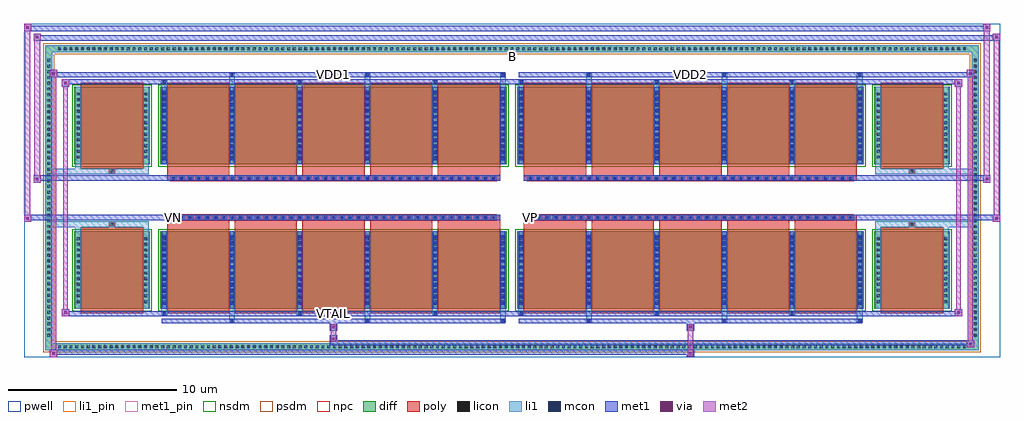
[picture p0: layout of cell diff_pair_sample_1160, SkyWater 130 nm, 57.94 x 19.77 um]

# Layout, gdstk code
import gdstk
lib = gdstk.Library(unit=1e-6, precision=5e-09)
def R(c, l, rs):  # rectangles x0, y0, x1, y1
    for r in rs: c.add(gdstk.rectangle(r[:2], r[2:], *l))
def A(c, l, x, y, w, h, nx, ny, dx, dy):  # array of equal rectangles
    R(c, l, [(x+i*dx, y+j*dy, x+i*dx+w, y+j*dy+h) for i in range(nx) for j in range(ny)])
def P(c, l, *ps):  # polygons
    for p in ps: c.add(gdstk.Polygon(p, *l))
pwell = (64, 44)
diff = (65, 20)
poly = (66, 20)
licon = (66, 44)
li1_pin = (67, 16)
li1 = (67, 20)
mcon = (67, 44)
met1_pin = (68, 16)
met1 = (68, 20)
via = (68, 44)
met2 = (69, 20)
nsdm = (93, 44)
psdm = (94, 20)
npc = (95, 20)

diff_pair_sample_1160 = lib.new_cell('diff_pair_sample_1160')
R(diff_pair_sample_1160, pwell, [(-28.97,-9.45,28.97,10.32), (-26.29,-7.64,-0.01,-0.8), (0.01,-7.64,26.29,-0.8), (-26.29,0.8,-0.01,7.64), (0.01,0.8,26.29,7.64)])
A(diff_pair_sample_1160, diff, -27.065, -9.05, 0.41, 0.41, 159, 2, 0.34, 17.69)
A(diff_pair_sample_1160, diff, -27.7, -8.365, 0.41, 0.41, 1, 49, 0, 0.34)
A(diff_pair_sample_1160, diff, 27.29, -8.365, 0.41, 0.41, 1, 49, 0, 0.34)
R(diff_pair_sample_1160, diff, [(-27.065,-9.05,27.065,-8.64), (-27.7,-8.365,-27.29,8.365), (27.29,-8.365,27.7,8.365), (-25.98,-6.595,-21.51,-1.985), (-20.87,-6.595,-0.32,-1.985), (0.32,-6.595,20.87,-1.985), (21.51,-6.595,25.98,-1.985), (-25.98,1.985,-21.51,6.595), (-20.87,1.985,-0.32,6.595), (0.32,1.985,20.87,6.595), (21.51,1.985,25.98,6.595), (-27.065,8.64,27.065,9.05)])
P(diff_pair_sample_1160, diff, [(27.7,9.05),(-27.7,9.05),(-27.7,-8.64),(-27.29,-8.64),(-27.29,8.64),(27.29,8.64),(27.29,-8.64),(-27.29,-8.64),(-27.7,-8.64),(-27.7,-9.05),(27.7,-9.05)])
A(diff_pair_sample_1160, poly, -20.48, -6.845, 3.69, 5.11, 5, 2, 4.02, 8.58)
A(diff_pair_sample_1160, poly, 0.71, -6.845, 3.69, 5.11, 5, 2, 4.02, 8.58)
A(diff_pair_sample_1160, poly, -20.48, -1.735, 3.69, 0.405, 5, 2, 4.02, 3.065)
A(diff_pair_sample_1160, poly, 0.71, -1.735, 3.69, 0.405, 5, 2, 4.02, 3.065)
A(diff_pair_sample_1160, poly, -20.26, -1.33, 0.33, 0.33, 39, 2, 0.5, 2.33)
A(diff_pair_sample_1160, poly, 0.93, -1.33, 0.33, 0.33, 39, 2, 0.5, 2.33)
R(diff_pair_sample_1160, poly, [(-25.59,-6.845,-21.9,-1.735), (21.9,-6.845,25.59,-1.735), (-23.91,-1.735,-23.58,-1.405), (-23.91,-1.735,-23.58,-1.405), (23.58,-1.735,23.91,-1.405), (23.58,-1.735,23.91,-1.405), (-20.48,-1.33,-0.71,-1), (0.71,-1.33,20.48,-1), (-20.48,1,-0.71,1.33), (0.71,1,20.48,1.33), (-23.91,1.405,-23.58,1.735), (-23.91,1.405,-23.58,1.735), (23.58,1.405,23.91,1.735), (23.58,1.405,23.91,1.735), (-25.59,1.735,-21.9,6.845), (21.9,1.735,25.59,6.845)])
A(diff_pair_sample_1160, licon, -26.945, -8.93, 0.17, 0.17, 159, 2, 0.34, 17.69)
A(diff_pair_sample_1160, licon, -27.58, -8.245, 0.17, 0.17, 1, 49, 0, 0.34)
A(diff_pair_sample_1160, licon, 27.41, -8.245, 0.17, 0.17, 1, 49, 0, 0.34)
A(diff_pair_sample_1160, licon, -25.84, -6.245, 0.17, 0.17, 1, 12, 0, 0.34)
A(diff_pair_sample_1160, licon, -21.82, -6.245, 0.17, 0.17, 1, 12, 0, 0.34)
A(diff_pair_sample_1160, licon, -20.73, -6.245, 0.17, 0.17, 6, 12, 4.02, 0.34)
A(diff_pair_sample_1160, licon, 0.46, -6.245, 0.17, 0.17, 6, 12, 4.02, 0.34)
A(diff_pair_sample_1160, licon, 21.65, -6.245, 0.17, 0.17, 1, 12, 0, 0.34)
A(diff_pair_sample_1160, licon, 25.67, -6.245, 0.17, 0.17, 1, 12, 0, 0.34)
A(diff_pair_sample_1160, licon, -20.18, -1.25, 0.17, 0.17, 39, 2, 0.5, 2.33)
A(diff_pair_sample_1160, licon, 1.01, -1.25, 0.17, 0.17, 39, 2, 0.5, 2.33)
A(diff_pair_sample_1160, licon, -25.84, 2.335, 0.17, 0.17, 1, 12, 0, 0.34)
A(diff_pair_sample_1160, licon, -21.82, 2.335, 0.17, 0.17, 1, 12, 0, 0.34)
A(diff_pair_sample_1160, licon, -20.73, 2.335, 0.17, 0.17, 6, 12, 4.02, 0.34)
A(diff_pair_sample_1160, licon, 0.46, 2.335, 0.17, 0.17, 6, 12, 4.02, 0.34)
A(diff_pair_sample_1160, licon, 21.65, 2.335, 0.17, 0.17, 1, 12, 0, 0.34)
A(diff_pair_sample_1160, licon, 25.67, 2.335, 0.17, 0.17, 1, 12, 0, 0.34)
R(diff_pair_sample_1160, licon, [(-23.83,-1.655,-23.66,-1.485), (23.66,-1.655,23.83,-1.485), (-23.83,1.485,-23.66,1.655), (23.66,1.485,23.83,1.655)])
R(diff_pair_sample_1160, li1_pin, [(-0.25,8.14,0.25,8.64)])
A(diff_pair_sample_1160, li1, -27.025, -9.01, 0.33, 0.33, 159, 2, 0.34, 17.69)
A(diff_pair_sample_1160, li1, -27.66, -8.325, 0.33, 0.33, 1, 49, 0, 0.34)
A(diff_pair_sample_1160, li1, 27.33, -8.325, 0.33, 0.33, 1, 49, 0, 0.34)
A(diff_pair_sample_1160, li1, -16.79, -7.4, 0.33, 0.805, 3, 2, 8.04, 13.995)
A(diff_pair_sample_1160, li1, -16.71, -7.4, 0.17, 0.17, 3, 2, 8.04, 14.63)
A(diff_pair_sample_1160, li1, 4.4, -7.4, 0.33, 0.805, 3, 2, 8.04, 13.995)
A(diff_pair_sample_1160, li1, 4.48, -7.4, 0.17, 0.17, 3, 2, 8.04, 14.63)
A(diff_pair_sample_1160, li1, -20.81, -6.97, 0.33, 0.375, 3, 2, 8.04, 13.565)
A(diff_pair_sample_1160, li1, -20.73, -6.97, 0.17, 0.17, 3, 2, 8.04, 13.77)
A(diff_pair_sample_1160, li1, 0.38, -6.97, 0.33, 0.375, 3, 2, 8.04, 13.565)
A(diff_pair_sample_1160, li1, 0.46, -6.97, 0.17, 0.17, 3, 2, 8.04, 13.77)
A(diff_pair_sample_1160, li1, -20.81, -6.595, 0.33, 4.61, 6, 2, 4.02, 8.58)
A(diff_pair_sample_1160, li1, 0.38, -6.595, 0.33, 4.61, 6, 2, 4.02, 8.58)
A(diff_pair_sample_1160, li1, -20.73, -6.355, 0.17, 0.17, 6, 12, 4.02, 0.36)
A(diff_pair_sample_1160, li1, -20.73, -6.355, 0.17, 4.13, 6, 2, 4.02, 8.58)
A(diff_pair_sample_1160, li1, 0.46, -6.355, 0.17, 0.17, 6, 12, 4.02, 0.36)
A(diff_pair_sample_1160, li1, 0.46, -6.355, 0.17, 4.13, 6, 2, 4.02, 8.58)
A(diff_pair_sample_1160, li1, -25.92, -6.325, 0.33, 0.33, 1, 12, 0, 0.34)
A(diff_pair_sample_1160, li1, -21.9, -6.325, 0.33, 0.33, 1, 12, 0, 0.34)
A(diff_pair_sample_1160, li1, -20.81, -6.325, 0.33, 0.33, 6, 12, 4.02, 0.34)
A(diff_pair_sample_1160, li1, 0.38, -6.325, 0.33, 0.33, 6, 12, 4.02, 0.34)
A(diff_pair_sample_1160, li1, 21.57, -6.325, 0.33, 0.33, 1, 12, 0, 0.34)
A(diff_pair_sample_1160, li1, 25.59, -6.325, 0.33, 0.33, 1, 12, 0, 0.34)
A(diff_pair_sample_1160, li1, -20.26, -1.33, 0.33, 0.33, 39, 2, 0.5, 2.33)
A(diff_pair_sample_1160, li1, 0.93, -1.33, 0.33, 0.33, 39, 2, 0.5, 2.33)
A(diff_pair_sample_1160, li1, -20.73, 2.225, 0.17, 0.17, 6, 12, 4.02, 0.36)
A(diff_pair_sample_1160, li1, 0.46, 2.225, 0.17, 0.17, 6, 12, 4.02, 0.36)
A(diff_pair_sample_1160, li1, -25.92, 2.255, 0.33, 0.33, 1, 12, 0, 0.34)
A(diff_pair_sample_1160, li1, -21.9, 2.255, 0.33, 0.33, 1, 12, 0, 0.34)
A(diff_pair_sample_1160, li1, -20.81, 2.255, 0.33, 0.33, 6, 12, 4.02, 0.34)
A(diff_pair_sample_1160, li1, 0.38, 2.255, 0.33, 0.33, 6, 12, 4.02, 0.34)
A(diff_pair_sample_1160, li1, 21.57, 2.255, 0.33, 0.33, 1, 12, 0, 0.34)
A(diff_pair_sample_1160, li1, 25.59, 2.255, 0.33, 0.33, 1, 12, 0, 0.34)
R(diff_pair_sample_1160, li1, [(-27.7,-9.05,-27.29,-8.64), (-27.7,-9.05,-27.29,-8.64), (-27.29,-9.05,27.29,-8.64), (27.29,-9.05,27.7,-8.64), (27.29,-9.05,27.7,-8.64), (-27.7,-8.64,-27.29,8.64), (27.29,-8.64,27.7,8.64), (-25.92,-6.595,-25.59,-1.985), (-21.9,-6.595,-21.57,-1.985), (21.57,-6.595,21.9,-1.985), (25.59,-6.595,25.92,-1.985), (-25.92,-1.985,-25.59,-1.405), (-21.9,-1.985,-21.57,-1.405), (21.57,-1.985,21.9,-1.405), (25.59,-1.985,25.92,-1.405), (-27.7,-1.735,-23.91,-1.405), (-25.92,-1.735,-23.91,-1.405), (-23.91,-1.735,-23.58,-1.405), (-23.58,-1.735,-21.57,-1.405), (21.57,-1.735,23.58,-1.405), (23.58,-1.735,23.91,-1.405), (23.58,-1.735,27.7,-1.405), (23.91,-1.735,25.92,-1.405), (-27.7,1.405,-23.91,1.735), (-25.92,1.405,-23.91,1.735), (-25.92,1.405,-25.59,1.985), (-23.91,1.405,-23.58,1.735), (-23.58,1.405,-21.57,1.735), (-21.9,1.405,-21.57,1.985), (21.57,1.405,23.58,1.735), (21.57,1.405,21.9,1.985), (23.58,1.405,23.91,1.735), (23.58,1.405,27.7,1.735), (23.91,1.405,25.92,1.735), (25.59,1.405,25.92,1.985), (-25.92,1.985,-25.59,6.595), (-21.9,1.985,-21.57,6.595), (21.57,1.985,21.9,6.595), (25.59,1.985,25.92,6.595), (-27.7,8.64,-27.29,9.05), (-27.7,8.64,-27.29,9.05), (-27.29,8.64,27.29,9.05), (27.29,8.64,27.7,9.05), (27.29,8.64,27.7,9.05)])
A(diff_pair_sample_1160, mcon, -16.71, -7.4, 0.17, 0.17, 3, 2, 8.04, 14.63)
A(diff_pair_sample_1160, mcon, 4.48, -7.4, 0.17, 0.17, 3, 2, 8.04, 14.63)
A(diff_pair_sample_1160, mcon, -20.73, -6.97, 0.17, 0.17, 3, 2, 8.04, 13.77)
A(diff_pair_sample_1160, mcon, 0.46, -6.97, 0.17, 0.17, 3, 2, 8.04, 13.77)
A(diff_pair_sample_1160, mcon, -20.73, -6.355, 0.17, 0.17, 6, 12, 4.02, 0.36)
A(diff_pair_sample_1160, mcon, 0.46, -6.355, 0.17, 0.17, 6, 12, 4.02, 0.36)
A(diff_pair_sample_1160, mcon, -20.18, -1.25, 0.17, 0.17, 39, 2, 0.5, 2.33)
A(diff_pair_sample_1160, mcon, 1.01, -1.25, 0.17, 0.17, 39, 2, 0.5, 2.33)
A(diff_pair_sample_1160, mcon, -20.73, 2.225, 0.17, 0.17, 6, 12, 4.02, 0.36)
A(diff_pair_sample_1160, mcon, 0.46, 2.225, 0.17, 0.17, 6, 12, 4.02, 0.36)
R(diff_pair_sample_1160, met1_pin, [(-10.73,-7.01,-10.46,-6.74), (-20.23,-1.29,-19.96,-1.02), (0.96,-1.29,1.23,-1.02), (-10.73,7.19,-10.46,7.46), (10.46,7.19,10.73,7.46)])
A(diff_pair_sample_1160, met1, -16.77, -7.46, 0.29, 0.29, 3, 2, 8.04, 14.63)
A(diff_pair_sample_1160, met1, 4.42, -7.46, 0.29, 0.29, 3, 2, 8.04, 14.63)
A(diff_pair_sample_1160, met1, -20.79, -7.03, 0.29, 0.29, 3, 2, 8.04, 13.77)
A(diff_pair_sample_1160, met1, 0.4, -7.03, 0.29, 0.29, 3, 2, 8.04, 13.77)
A(diff_pair_sample_1160, met1, -20.79, -6.595, 0.29, 4.61, 6, 2, 4.02, 8.58)
A(diff_pair_sample_1160, met1, 0.4, -6.595, 0.29, 4.61, 6, 2, 4.02, 8.58)
A(diff_pair_sample_1160, met1, -20.79, -6.415, 0.29, 0.29, 6, 12, 4.02, 0.36)
A(diff_pair_sample_1160, met1, 0.4, -6.415, 0.29, 0.29, 6, 12, 4.02, 0.36)
A(diff_pair_sample_1160, met1, -20.24, -1.31, 0.29, 0.29, 39, 2, 0.5, 2.33)
A(diff_pair_sample_1160, met1, 0.95, -1.31, 0.29, 0.29, 39, 2, 0.5, 2.33)
A(diff_pair_sample_1160, met1, -20.79, 2.165, 0.29, 0.29, 6, 12, 4.02, 0.36)
A(diff_pair_sample_1160, met1, 0.4, 2.165, 0.29, 0.29, 6, 12, 4.02, 0.36)
R(diff_pair_sample_1160, met1, [(-27.43,-9.45,-27,-9.02), (10.38,-9.45,10.81,-9.02), (-27.43,-9.31,10.81,-9.02), (27,-8.88,27.43,-8.45), (-10.81,-8.74,27.43,-8.45), (-10.81,-8.6,-10.38,-8.17), (-10.81,-7.89,-10.38,-7.46), (10.38,-7.89,10.81,-7.46), (-20.79,-7.46,-0.4,-7.17), (0.4,-7.46,20.79,-7.17), (-26.72,-7.03,-26.29,-6.6), (-26.72,-7.03,-20.79,-6.74), (-20.79,-7.03,-0.4,-6.74), (-0.4,-7.03,0.4,-6.74), (0.4,-7.03,20.79,-6.74), (20.79,-7.03,26.72,-6.74), (26.29,-7.03,26.72,-6.6), (-28.97,-1.43,-28.54,-1), (28.54,-1.43,28.97,-1), (-28.97,-1.33,-0.71,-1), (-20.48,-1.33,-0.71,-1), (0.71,-1.33,20.48,-1), (0.71,-1.33,28.97,-1), (-28.4,0.9,-27.97,1.33), (27.97,0.9,28.4,1.33), (-28.4,1,-20.48,1.33), (-20.48,1,-0.71,1.33), (0.71,1,20.48,1.33), (20.48,1,28.4,1.33), (-26.72,6.6,-26.29,7.03), (26.29,6.6,26.72,7.03), (-26.72,6.74,-20.79,7.03), (-20.79,6.74,-0.4,7.03), (-0.4,6.74,0.4,7.03), (0.4,6.74,20.79,7.03), (20.79,6.74,26.72,7.03), (-27.43,7.17,-27,7.6), (-27.43,7.17,-20.79,7.46), (-20.79,7.17,-0.4,7.46), (0.4,7.17,20.79,7.46), (20.79,7.17,27.43,7.46), (27,7.17,27.43,7.6), (-28.4,9.32,-27.97,9.75), (-28.4,9.32,-26.29,9.65), (-26.29,9.32,26.29,9.65), (26.29,9.32,28.97,9.65), (28.54,9.32,28.97,9.75), (-28.97,9.89,-28.54,10.32), (-28.97,9.89,-26.29,10.22), (-26.29,9.89,26.29,10.22), (26.29,9.89,28.4,10.22), (27.97,9.89,28.4,10.32)])
R(diff_pair_sample_1160, via, [(-27.29,-9.31,-27.14,-9.16), (10.52,-9.31,10.67,-9.16), (27.14,-8.74,27.29,-8.59), (-10.67,-8.46,-10.52,-8.31), (-10.67,-7.75,-10.52,-7.6), (10.52,-7.75,10.67,-7.6), (-26.58,-6.89,-26.43,-6.74), (26.43,-6.89,26.58,-6.74), (-28.83,-1.29,-28.68,-1.14), (28.68,-1.29,28.83,-1.14), (-28.26,1.04,-28.11,1.19), (28.11,1.04,28.26,1.19), (-26.58,6.74,-26.43,6.89), (26.43,6.74,26.58,6.89), (-27.29,7.31,-27.14,7.46), (27.14,7.31,27.29,7.46), (-28.26,9.46,-28.11,9.61), (28.68,9.46,28.83,9.61), (-28.83,10.03,-28.68,10.18), (28.11,10.03,28.26,10.18)])
R(diff_pair_sample_1160, met2, [(-27.43,-9.45,-27,-9.02), (-27.36,-9.45,-27.07,7.6), (-27.07,-9.45,-27,-9.02), (-27.38,-9.4,-27.05,-9.07), (10.43,-9.4,10.76,-9.07), (10.43,-9.07,10.76,-7.84), (27,-8.88,27.43,-8.45), (27.07,-8.88,27.36,7.6), (27.36,-8.88,27.43,-8.45), (27.05,-8.83,27.38,-8.5), (-10.76,-8.55,-10.43,-8.22), (-10.76,-8.22,-10.43,-7.84), (-10.76,-7.84,-10.43,-7.51), (10.43,-7.84,10.76,-7.51), (-26.72,-7.03,-26.29,-6.6), (-26.65,-7.03,-26.36,7.03), (-26.36,-7.03,-26.29,-6.6), (26.29,-7.03,26.72,-6.6), (26.36,-7.03,26.65,7.03), (26.65,-7.03,26.72,-6.6), (-26.67,-6.98,-26.34,-6.65), (26.34,-6.98,26.67,-6.65), (-28.97,-1.43,-28.54,-1), (-28.92,-1.43,-28.59,10.32), (-28.59,-1.43,-28.54,-1), (28.54,-1.43,28.97,-1), (28.59,-1.43,28.92,9.75), (28.92,-1.43,28.97,-1), (-28.92,-1.38,-28.59,-1.05), (28.59,-1.38,28.92,-1.05), (-28.4,0.9,-27.97,1.33), (-28.35,0.9,-28.02,9.75), (-28.02,0.9,-27.97,1.33), (27.97,0.9,28.4,1.33), (28.02,0.9,28.35,10.32), (28.35,0.9,28.4,1.33), (-28.35,0.95,-28.02,1.28), (28.02,0.95,28.35,1.28), (-26.72,6.6,-26.29,7.03), (-26.36,6.6,-26.29,7.03), (26.29,6.6,26.72,7.03), (26.65,6.6,26.72,7.03), (-26.67,6.65,-26.34,6.98), (26.34,6.65,26.67,6.98), (-27.43,7.17,-27,7.6), (-27.07,7.17,-27,7.6), (27,7.17,27.43,7.6), (27.36,7.17,27.43,7.6), (-27.38,7.22,-27.05,7.55), (27.05,7.22,27.38,7.55), (-28.4,9.32,-27.97,9.75), (-28.02,9.32,-27.97,9.75), (28.54,9.32,28.97,9.75), (28.92,9.32,28.97,9.75), (-28.35,9.37,-28.02,9.7), (28.59,9.37,28.92,9.7), (-28.97,9.89,-28.54,10.32), (-28.59,9.89,-28.54,10.32), (27.97,9.89,28.4,10.32), (28.35,9.89,28.4,10.32), (-28.92,9.94,-28.59,10.27), (28.02,9.94,28.35,10.27)])
R(diff_pair_sample_1160, nsdm, [(-26.11,-6.725,-21.38,-1.855), (-21,-6.725,-0.19,-1.855), (0.19,-6.725,21,-1.855), (21.38,-6.725,26.11,-1.855), (-26.11,1.855,-21.38,6.725), (-21,1.855,-0.19,6.725), (0.19,1.855,21,6.725), (21.38,1.855,26.11,6.725)])
P(diff_pair_sample_1160, psdm, [(27.83,9.18),(-27.83,9.18),(-27.83,-8.51),(-27.16,-8.51),(-27.16,8.51),(27.16,8.51),(27.16,-8.51),(-27.16,-8.51),(-27.83,-8.51),(-27.83,-9.18),(27.83,-9.18)])
A(diff_pair_sample_1160, npc, -20.28, -1.35, 0.37, 0.37, 39, 2, 0.5, 2.33)
A(diff_pair_sample_1160, npc, 0.91, -1.35, 0.37, 0.37, 39, 2, 0.5, 2.33)
R(diff_pair_sample_1160, npc, [(-23.93,-1.755,-23.56,-1.385), (23.56,-1.755,23.93,-1.385), (-20.28,-1.35,-19.41,-0.98), (-20.28,-1.35,-19.41,-0.98), (-19.78,-1.35,-18.91,-0.98), (-19.78,-1.35,-18.91,-0.98), (-19.28,-1.35,-18.41,-0.98), (-19.28,-1.35,-18.41,-0.98), (-18.78,-1.35,-17.91,-0.98), (-18.78,-1.35,-17.91,-0.98), (-18.28,-1.35,-17.41,-0.98), (-18.28,-1.35,-17.41,-0.98), (-17.78,-1.35,-16.91,-0.98), (-17.78,-1.35,-16.91,-0.98), (-17.28,-1.35,-16.41,-0.98), (-17.28,-1.35,-16.41,-0.98), (-16.78,-1.35,-15.91,-0.98), (-16.78,-1.35,-15.91,-0.98), (-16.28,-1.35,-15.41,-0.98), (-16.28,-1.35,-15.41,-0.98), (-15.78,-1.35,-14.91,-0.98), (-15.78,-1.35,-14.91,-0.98), (-15.28,-1.35,-14.41,-0.98), (-15.28,-1.35,-14.41,-0.98), (-14.78,-1.35,-13.91,-0.98), (-14.78,-1.35,-13.91,-0.98), (-14.28,-1.35,-13.41,-0.98), (-14.28,-1.35,-13.41,-0.98), (-13.78,-1.35,-12.91,-0.98), (-13.78,-1.35,-12.91,-0.98), (-13.28,-1.35,-12.41,-0.98), (-13.28,-1.35,-12.41,-0.98), (-12.78,-1.35,-11.91,-0.98), (-12.78,-1.35,-11.91,-0.98), (-12.28,-1.35,-11.41,-0.98), (-12.28,-1.35,-11.41,-0.98), (-11.78,-1.35,-10.91,-0.98), (-11.78,-1.35,-10.91,-0.98), (-11.28,-1.35,-10.41,-0.98), (-11.28,-1.35,-10.41,-0.98), (-10.78,-1.35,-9.91,-0.98), (-10.78,-1.35,-9.91,-0.98), (-10.28,-1.35,-9.41,-0.98), (-10.28,-1.35,-9.41,-0.98), (-9.78,-1.35,-8.91,-0.98), (-9.78,-1.35,-8.91,-0.98), (-9.28,-1.35,-8.41,-0.98), (-9.28,-1.35,-8.41,-0.98), (-8.78,-1.35,-7.91,-0.98), (-8.78,-1.35,-7.91,-0.98), (-8.28,-1.35,-7.41,-0.98), (-8.28,-1.35,-7.41,-0.98), (-7.78,-1.35,-6.91,-0.98), (-7.78,-1.35,-6.91,-0.98), (-7.28,-1.35,-6.41,-0.98), (-7.28,-1.35,-6.41,-0.98), (-6.78,-1.35,-5.91,-0.98), (-6.78,-1.35,-5.91,-0.98), (-6.28,-1.35,-5.41,-0.98), (-6.28,-1.35,-5.41,-0.98), (-5.78,-1.35,-4.91,-0.98), (-5.78,-1.35,-4.91,-0.98), (-5.28,-1.35,-4.41,-0.98), (-5.28,-1.35,-4.41,-0.98), (-4.78,-1.35,-3.91,-0.98), (-4.78,-1.35,-3.91,-0.98), (-4.28,-1.35,-3.41,-0.98), (-4.28,-1.35,-3.41,-0.98), (-3.78,-1.35,-2.91,-0.98), (-3.78,-1.35,-2.91,-0.98), (-3.28,-1.35,-2.41,-0.98), (-3.28,-1.35,-2.41,-0.98), (-2.78,-1.35,-1.91,-0.98), (-2.78,-1.35,-1.91,-0.98), (-2.28,-1.35,-1.41,-0.98), (-2.28,-1.35,-1.41,-0.98), (-1.78,-1.35,-0.91,-0.98), (-1.78,-1.35,-0.91,-0.98), (0.91,-1.35,1.78,-0.98), (0.91,-1.35,1.78,-0.98), (1.41,-1.35,2.28,-0.98), (1.41,-1.35,2.28,-0.98), (1.91,-1.35,2.78,-0.98), (1.91,-1.35,2.78,-0.98), (2.41,-1.35,3.28,-0.98), (2.41,-1.35,3.28,-0.98), (2.91,-1.35,3.78,-0.98), (2.91,-1.35,3.78,-0.98), (3.41,-1.35,4.28,-0.98), (3.41,-1.35,4.28,-0.98), (3.91,-1.35,4.78,-0.98), (3.91,-1.35,4.78,-0.98), (4.41,-1.35,5.28,-0.98), (4.41,-1.35,5.28,-0.98), (4.91,-1.35,5.78,-0.98), (4.91,-1.35,5.78,-0.98), (5.41,-1.35,6.28,-0.98), (5.41,-1.35,6.28,-0.98), (5.91,-1.35,6.78,-0.98), (5.91,-1.35,6.78,-0.98), (6.41,-1.35,7.28,-0.98), (6.41,-1.35,7.28,-0.98), (6.91,-1.35,7.78,-0.98), (6.91,-1.35,7.78,-0.98), (7.41,-1.35,8.28,-0.98), (7.41,-1.35,8.28,-0.98), (7.91,-1.35,8.78,-0.98), (7.91,-1.35,8.78,-0.98), (8.41,-1.35,9.28,-0.98), (8.41,-1.35,9.28,-0.98), (8.91,-1.35,9.78,-0.98), (8.91,-1.35,9.78,-0.98), (9.41,-1.35,10.28,-0.98), (9.41,-1.35,10.28,-0.98), (9.91,-1.35,10.78,-0.98), (9.91,-1.35,10.78,-0.98), (10.41,-1.35,11.28,-0.98), (10.41,-1.35,11.28,-0.98), (10.91,-1.35,11.78,-0.98), (10.91,-1.35,11.78,-0.98), (11.41,-1.35,12.28,-0.98), (11.41,-1.35,12.28,-0.98), (11.91,-1.35,12.78,-0.98), (11.91,-1.35,12.78,-0.98), (12.41,-1.35,13.28,-0.98), (12.41,-1.35,13.28,-0.98), (12.91,-1.35,13.78,-0.98), (12.91,-1.35,13.78,-0.98), (13.41,-1.35,14.28,-0.98), (13.41,-1.35,14.28,-0.98), (13.91,-1.35,14.78,-0.98), (13.91,-1.35,14.78,-0.98), (14.41,-1.35,15.28,-0.98), (14.41,-1.35,15.28,-0.98), (14.91,-1.35,15.78,-0.98), (14.91,-1.35,15.78,-0.98), (15.41,-1.35,16.28,-0.98), (15.41,-1.35,16.28,-0.98), (15.91,-1.35,16.78,-0.98), (15.91,-1.35,16.78,-0.98), (16.41,-1.35,17.28,-0.98), (16.41,-1.35,17.28,-0.98), (16.91,-1.35,17.78,-0.98), (16.91,-1.35,17.78,-0.98), (17.41,-1.35,18.28,-0.98), (17.41,-1.35,18.28,-0.98), (17.91,-1.35,18.78,-0.98), (17.91,-1.35,18.78,-0.98), (18.41,-1.35,19.28,-0.98), (18.41,-1.35,19.28,-0.98), (18.91,-1.35,19.78,-0.98), (18.91,-1.35,19.78,-0.98), (19.41,-1.35,20.28,-0.98), (19.41,-1.35,20.28,-0.98), (-20.28,0.98,-19.41,1.35), (-20.28,0.98,-19.41,1.35), (-19.78,0.98,-18.91,1.35), (-19.78,0.98,-18.91,1.35), (-19.28,0.98,-18.41,1.35), (-19.28,0.98,-18.41,1.35), (-18.78,0.98,-17.91,1.35), (-18.78,0.98,-17.91,1.35), (-18.28,0.98,-17.41,1.35), (-18.28,0.98,-17.41,1.35), (-17.78,0.98,-16.91,1.35), (-17.78,0.98,-16.91,1.35), (-17.28,0.98,-16.41,1.35), (-17.28,0.98,-16.41,1.35), (-16.78,0.98,-15.91,1.35), (-16.78,0.98,-15.91,1.35), (-16.28,0.98,-15.41,1.35), (-16.28,0.98,-15.41,1.35), (-15.78,0.98,-14.91,1.35), (-15.78,0.98,-14.91,1.35), (-15.28,0.98,-14.41,1.35), (-15.28,0.98,-14.41,1.35), (-14.78,0.98,-13.91,1.35), (-14.78,0.98,-13.91,1.35), (-14.28,0.98,-13.41,1.35), (-14.28,0.98,-13.41,1.35), (-13.78,0.98,-12.91,1.35), (-13.78,0.98,-12.91,1.35), (-13.28,0.98,-12.41,1.35), (-13.28,0.98,-12.41,1.35), (-12.78,0.98,-11.91,1.35), (-12.78,0.98,-11.91,1.35), (-12.28,0.98,-11.41,1.35), (-12.28,0.98,-11.41,1.35), (-11.78,0.98,-10.91,1.35), (-11.78,0.98,-10.91,1.35), (-11.28,0.98,-10.41,1.35), (-11.28,0.98,-10.41,1.35), (-10.78,0.98,-9.91,1.35), (-10.78,0.98,-9.91,1.35), (-10.28,0.98,-9.41,1.35), (-10.28,0.98,-9.41,1.35), (-9.78,0.98,-8.91,1.35), (-9.78,0.98,-8.91,1.35), (-9.28,0.98,-8.41,1.35), (-9.28,0.98,-8.41,1.35), (-8.78,0.98,-7.91,1.35), (-8.78,0.98,-7.91,1.35), (-8.28,0.98,-7.41,1.35), (-8.28,0.98,-7.41,1.35), (-7.78,0.98,-6.91,1.35), (-7.78,0.98,-6.91,1.35), (-7.28,0.98,-6.41,1.35), (-7.28,0.98,-6.41,1.35), (-6.78,0.98,-5.91,1.35), (-6.78,0.98,-5.91,1.35), (-6.28,0.98,-5.41,1.35), (-6.28,0.98,-5.41,1.35), (-5.78,0.98,-4.91,1.35), (-5.78,0.98,-4.91,1.35), (-5.28,0.98,-4.41,1.35), (-5.28,0.98,-4.41,1.35), (-4.78,0.98,-3.91,1.35), (-4.78,0.98,-3.91,1.35), (-4.28,0.98,-3.41,1.35), (-4.28,0.98,-3.41,1.35), (-3.78,0.98,-2.91,1.35), (-3.78,0.98,-2.91,1.35), (-3.28,0.98,-2.41,1.35), (-3.28,0.98,-2.41,1.35), (-2.78,0.98,-1.91,1.35), (-2.78,0.98,-1.91,1.35), (-2.28,0.98,-1.41,1.35), (-2.28,0.98,-1.41,1.35), (-1.78,0.98,-0.91,1.35), (-1.78,0.98,-0.91,1.35), (0.91,0.98,1.78,1.35), (0.91,0.98,1.78,1.35), (1.41,0.98,2.28,1.35), (1.41,0.98,2.28,1.35), (1.91,0.98,2.78,1.35), (1.91,0.98,2.78,1.35), (2.41,0.98,3.28,1.35), (2.41,0.98,3.28,1.35), (2.91,0.98,3.78,1.35), (2.91,0.98,3.78,1.35), (3.41,0.98,4.28,1.35), (3.41,0.98,4.28,1.35), (3.91,0.98,4.78,1.35), (3.91,0.98,4.78,1.35), (4.41,0.98,5.28,1.35), (4.41,0.98,5.28,1.35), (4.91,0.98,5.78,1.35), (4.91,0.98,5.78,1.35), (5.41,0.98,6.28,1.35), (5.41,0.98,6.28,1.35), (5.91,0.98,6.78,1.35), (5.91,0.98,6.78,1.35), (6.41,0.98,7.28,1.35), (6.41,0.98,7.28,1.35), (6.91,0.98,7.78,1.35), (6.91,0.98,7.78,1.35), (7.41,0.98,8.28,1.35), (7.41,0.98,8.28,1.35), (7.91,0.98,8.78,1.35), (7.91,0.98,8.78,1.35), (8.41,0.98,9.28,1.35), (8.41,0.98,9.28,1.35), (8.91,0.98,9.78,1.35), (8.91,0.98,9.78,1.35), (9.41,0.98,10.28,1.35), (9.41,0.98,10.28,1.35), (9.91,0.98,10.78,1.35), (9.91,0.98,10.78,1.35), (10.41,0.98,11.28,1.35), (10.41,0.98,11.28,1.35), (10.91,0.98,11.78,1.35), (10.91,0.98,11.78,1.35), (11.41,0.98,12.28,1.35), (11.41,0.98,12.28,1.35), (11.91,0.98,12.78,1.35), (11.91,0.98,12.78,1.35), (12.41,0.98,13.28,1.35), (12.41,0.98,13.28,1.35), (12.91,0.98,13.78,1.35), (12.91,0.98,13.78,1.35), (13.41,0.98,14.28,1.35), (13.41,0.98,14.28,1.35), (13.91,0.98,14.78,1.35), (13.91,0.98,14.78,1.35), (14.41,0.98,15.28,1.35), (14.41,0.98,15.28,1.35), (14.91,0.98,15.78,1.35), (14.91,0.98,15.78,1.35), (15.41,0.98,16.28,1.35), (15.41,0.98,16.28,1.35), (15.91,0.98,16.78,1.35), (15.91,0.98,16.78,1.35), (16.41,0.98,17.28,1.35), (16.41,0.98,17.28,1.35), (16.91,0.98,17.78,1.35), (16.91,0.98,17.78,1.35), (17.41,0.98,18.28,1.35), (17.41,0.98,18.28,1.35), (17.91,0.98,18.78,1.35), (17.91,0.98,18.78,1.35), (18.41,0.98,19.28,1.35), (18.41,0.98,19.28,1.35), (18.91,0.98,19.78,1.35), (18.91,0.98,19.78,1.35), (19.41,0.98,20.28,1.35), (19.41,0.98,20.28,1.35), (-23.93,1.385,-23.56,1.755), (23.56,1.385,23.93,1.755)])
diff_pair_sample_1160.add(gdstk.Label('VTAIL', (-10.595,-6.875), layer=68, texttype=5))
diff_pair_sample_1160.add(gdstk.Label('VN', (-20.095,-1.155), layer=68, texttype=5))
diff_pair_sample_1160.add(gdstk.Label('VP', (1.095,-1.155), layer=68, texttype=5))
diff_pair_sample_1160.add(gdstk.Label('B', (0,8.39), layer=67, texttype=5))
diff_pair_sample_1160.add(gdstk.Label('VDD2', (10.595,7.325), layer=68, texttype=5))
diff_pair_sample_1160.add(gdstk.Label('VDD1', (-10.595,7.325), layer=68, texttype=5))

lib.write_gds('diff_pair_sample_1160.gds')
